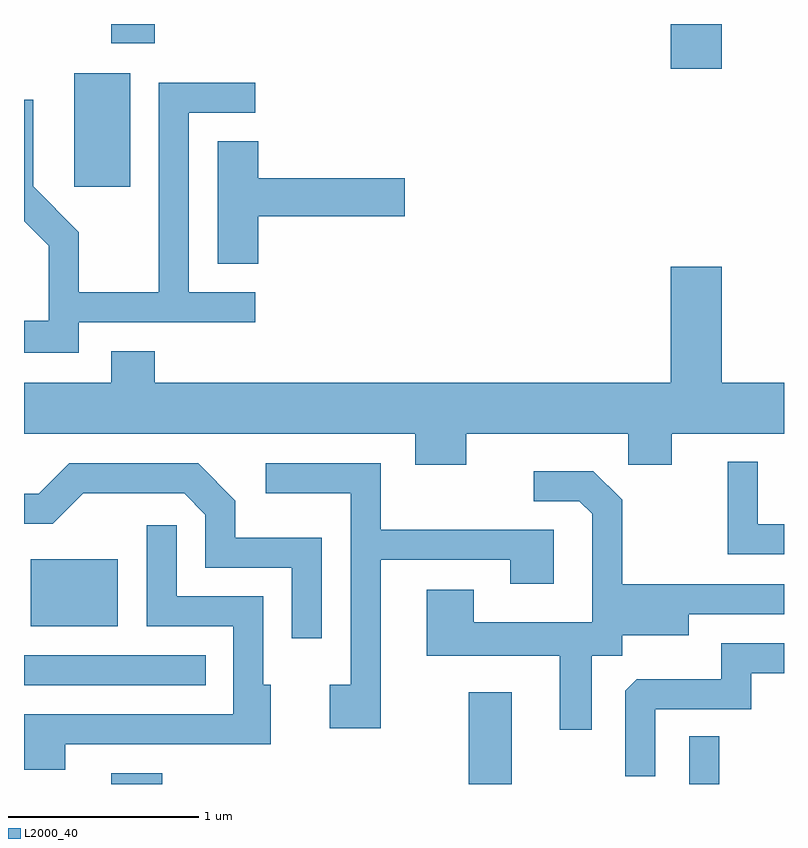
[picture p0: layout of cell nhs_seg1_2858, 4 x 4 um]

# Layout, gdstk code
import gdstk
lib = gdstk.Library(unit=1e-6, precision=1e-09)
def R(c, l, rs):  # rectangles x0, y0, x1, y1
    for r in rs: c.add(gdstk.rectangle(r[:2], r[2:], *l))
def P(c, l, *ps):  # polygons
    for p in ps: c.add(gdstk.Polygon(p, *l))
L2000_40 = (2000, 40)

nhs_seg1_2858 = lib.new_cell('nhs_seg1_2858')
R(nhs_seg1_2858, L2000_40, [(272.071,917.712,272.339,917.769), (273.951,917.712,274.179,918.194), (275.111,917.712,275.269,917.963), (271.611,918.231,272.568,918.389), (271.646,918.541,272.104,918.894), (271.876,920.856,272.169,921.454), (275.016,921.476,275.284,921.712), (272.071,921.611,272.299,921.712)])
P(nhs_seg1_2858, L2000_40, [(271.899,920.141),(272.828,920.141),(272.828,920.299),(272.479,920.299),(272.479,921.246),(272.828,921.246),(272.828,921.404),(272.321,921.404),(272.321,920.299),(271.899,920.299),(271.899,920.617),(271.659,920.857),(271.659,921.313),(271.611,921.313),(271.611,920.674),(271.741,920.544),(271.741,920.149),(271.611,920.149),(271.611,919.981),(271.899,919.981)],
  [(272.844,920.701),(273.614,920.701),(273.614,920.899),(272.844,920.899),(272.844,921.094),(272.631,921.094),(272.631,920.451),(272.844,920.451)],
  [(273.939,919.556),(274.791,919.556),(274.791,919.391),(275.019,919.391),(275.019,919.556),(275.611,919.556),(275.611,919.824),(275.284,919.824),(275.284,920.434),(275.016,920.434),(275.016,919.824),(272.299,919.824),(272.299,919.989),(272.071,919.989),(272.071,919.824),(271.611,919.824),(271.611,919.556),(273.671,919.556),(273.671,919.391),(273.939,919.391)],
  [(275.611,919.079),(275.474,919.079),(275.474,919.408),(275.316,919.408),(275.316,918.921),(275.611,918.921)],
  [(273.179,919.009),(272.724,919.009),(272.724,919.202),(272.527,919.399),(271.849,919.399),(271.689,919.239),(271.611,919.239),(271.611,919.081),(271.762,919.081),(271.922,919.241),(272.454,919.241),(272.566,919.129),(272.566,918.851),(273.021,918.851),(273.021,918.478),(273.179,918.478)],
  [(273.489,918.891),(274.171,918.891),(274.171,918.766),(274.399,918.766),(274.399,919.049),(273.489,919.049),(273.489,919.399),(272.883,919.399),(272.883,919.241),(273.331,919.241),(273.331,918.234),(273.221,918.234),(273.221,918.006),(273.489,918.006)],
  [(274.599,918.386),(274.759,918.386),(274.759,918.496),(275.109,918.496),(275.109,918.606),(275.611,918.606),(275.611,918.764),(274.759,918.764),(274.759,919.207),(274.607,919.359),(274.293,919.359),(274.293,919.201),(274.534,919.201),(274.601,919.134),(274.601,918.564),(273.979,918.564),(273.979,918.734),(273.731,918.734),(273.731,918.386),(274.431,918.386),(274.431,917.998),(274.599,917.998)],
  [(271.829,917.921),(272.909,917.921),(272.909,918.234),(272.869,918.234),(272.869,918.699),(272.414,918.699),(272.414,919.073),(272.256,919.073),(272.256,918.541),(272.711,918.541),(272.711,918.079),(271.611,918.079),(271.611,917.786),(271.829,917.786)],
  [(274.934,918.106),(275.439,918.106),(275.439,918.296),(275.611,918.296),(275.611,918.454),(275.281,918.454),(275.281,918.264),(274.837,918.264),(274.776,918.204),(274.776,917.753),(274.934,917.753)])

lib.write_gds('nhs_seg1_2858.gds')
